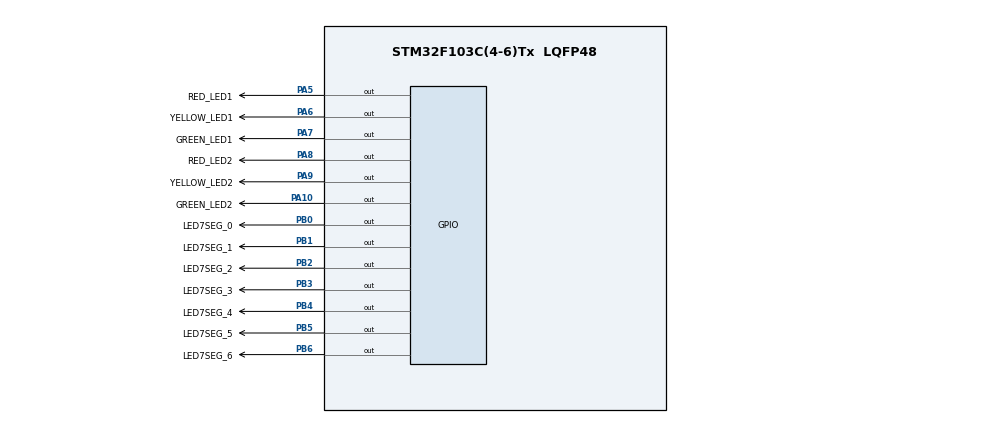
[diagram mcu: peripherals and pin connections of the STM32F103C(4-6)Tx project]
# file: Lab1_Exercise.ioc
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Mcu.Family=STM32F1
Mcu.Name=STM32F103C(4-6)Tx
Mcu.Package=LQFP48
NVIC.PriorityGroup=NVIC_PRIORITYGROUP_4
PA10.GPIO_Label=GREEN_LED2
PA10.Signal=GPIO_Output
PA5.GPIO_Label=RED_LED1
PA5.Signal=GPIO_Output
PA6.GPIO_Label=YELLOW_LED1
PA6.Signal=GPIO_Output
PA7.GPIO_Label=GREEN_LED1
PA7.Signal=GPIO_Output
PA8.GPIO_Label=RED_LED2
PA8.Signal=GPIO_Output
PA9.GPIO_Label=YELLOW_LED2
PA9.Signal=GPIO_Output
PB0.GPIO_Label=LED7SEG_0
PB0.Signal=GPIO_Output
PB1.GPIO_Label=LED7SEG_1
PB1.Signal=GPIO_Output
PB2.GPIO_Label=LED7SEG_2
PB2.Signal=GPIO_Output
PB3.GPIO_Label=LED7SEG_3
PB3.Signal=GPIO_Output
PB4.GPIO_Label=LED7SEG_4
PB4.Signal=GPIO_Output
PB5.GPIO_Label=LED7SEG_5
PB5.Signal=GPIO_Output
PB6.GPIO_Label=LED7SEG_6
PB6.Signal=GPIO_Output
ProjectManager.HeapSize=0x200
ProjectManager.StackSize=0x400
ProjectManager.TargetToolchain=STM32CubeIDE
RCC.APB1Freq_Value=8000000
RCC.APB2Freq_Value=8000000
board=custom

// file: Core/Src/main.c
/* USER CODE BEGIN Header */
/**
  ******************************************************************************
  * @file           : main.c
  * @brief          : Main program body
  ******************************************************************************
  * @attention
  *
  * Copyright (c) 2023 STMicroelectronics.
  * All rights reserved.
  *
  * This software is licensed under terms that can be found in the LICENSE file
  * in the root directory of this software component.
  * If no LICENSE file comes with this software, it is provided AS-IS.
  *
  ******************************************************************************
  */
/* USER CODE END Header */
#include "main.h"

/* USER CODE BEGIN PD */
enum TrafficLightState
{
	RED1_GREEN2,
	RED1_YELLOW2,
	GREEN1_RED2,
	YELLOW1_RED2
};

enum Led
{
	RED1,
	RED2,
	GREEN1,
	GREEN2,
	YELLOW1,
	YELLOW2
};
/* USER CODE END PD */

void SystemClock_Config(void);
static void MX_GPIO_Init(void);
void turnOnLight(enum Led);
void clearAllLed();

int main(void)
{

  /* MCU Configuration--------------------------------------------------------*/

  /* Reset of all peripherals, Initializes the Flash interface and the Systick. */
  HAL_Init();

  /* Configure the system clock */
  SystemClock_Config();

  /* Initialize all configured peripherals */
  MX_GPIO_Init();

  /* Infinite loop */
  /* USER CODE BEGIN WHILE */
  turnOnLight(RED1);
  turnOnLight(GREEN1);
  uint8_t count = 3;
  uint8_t light = 5;
  uint8_t state = RED1_GREEN2;
  while (1)
  {
	switch (state)
	{
	case RED1_GREEN2:
		clearAllLed();
		turnOnLight(RED1);
		turnOnLight(GREEN2);
		--count;
		--light;
		if (count <= 0)
		{
			count = 2;
			state = RED1_YELLOW2;
		}
		break;
	case RED1_YELLOW2:
		clearAllLed();
		turnOnLight(RED1);
		turnOnLight(YELLOW2);
		--count;
		--light;
		if (count <= 0)
		{
			count = 3;
			light = 3;
			state = GREEN1_RED2;
		}
		break;
	case GREEN1_RED2:
		clearAllLed();
		turnOnLight(GREEN1);
		turnOnLight(RED2);
		--count;
		--light;
		if (count <= 0)
		{
			count = 2;
			light = 2;
			state = YELLOW1_RED2;
		}
		break;
	case YELLOW1_RED2:
		clearAllLed();
		turnOnLight(YELLOW1);
		turnOnLight(RED2);
		--count;
		--light;
		if (count <= 0)
		{
			count = 3;
			light = 5;
			state = RED1_GREEN2;
		}
		break;
	}
	HAL_Delay(1000);
  /* USER CODE END WHILE */

  /* USER CODE BEGIN 3 */
  }
}

void SystemClock_Config(void)
{
  RCC_OscInitTypeDef RCC_OscInitStruct = {0};
  RCC_ClkInitTypeDef RCC_ClkInitStruct = {0};

  /** Initializes the RCC Oscillators according to the specified parameters
  * in the RCC_OscInitTypeDef structure.
  */
  RCC_OscInitStruct.OscillatorType = RCC_OSCILLATORTYPE_HSI;
  RCC_OscInitStruct.HSIState = RCC_HSI_ON;
  RCC_OscInitStruct.HSICalibrationValue = RCC_HSICALIBRATION_DEFAULT;
  RCC_OscInitStruct.PLL.PLLState = RCC_PLL_NONE;
  if (HAL_RCC_OscConfig(&RCC_OscInitStruct) != HAL_OK)
  {
    Error_Handler();
  }

  /** Initializes the CPU, AHB and APB buses clocks
  */
  RCC_ClkInitStruct.ClockType = RCC_CLOCKTYPE_HCLK|RCC_CLOCKTYPE_SYSCLK
                              |RCC_CLOCKTYPE_PCLK1|RCC_CLOCKTYPE_PCLK2;
  RCC_ClkInitStruct.SYSCLKSource = RCC_SYSCLKSOURCE_HSI;
  RCC_ClkInitStruct.AHBCLKDivider = RCC_SYSCLK_DIV1;
  RCC_ClkInitStruct.APB1CLKDivider = RCC_HCLK_DIV1;
  RCC_ClkInitStruct.APB2CLKDivider = RCC_HCLK_DIV1;

  if (HAL_RCC_ClockConfig(&RCC_ClkInitStruct, FLASH_LATENCY_0) != HAL_OK)
  {
    Error_Handler();
  }
}

static void MX_GPIO_Init(void)
{
  GPIO_InitTypeDef GPIO_InitStruct = {0};

  /* GPIO Ports Clock Enable */
  __HAL_RCC_GPIOA_CLK_ENABLE();

  /*Configure GPIO pin Output Level */
  HAL_GPIO_WritePin(GPIOA, RED_LED1_Pin|YELLOW_LED1_Pin|GREEN_LED1_Pin|RED_LED2_Pin
                          |YELLOW_LED2_Pin|GREEN_LED2_Pin, GPIO_PIN_RESET);

  /*Configure GPIO pins : RED_LED1_Pin YELLOW_LED1_Pin GREEN_LED1_Pin RED_LED2_Pin
                           YELLOW_LED2_Pin GREEN_LED2_Pin */
  GPIO_InitStruct.Pin = RED_LED1_Pin|YELLOW_LED1_Pin|GREEN_LED1_Pin|RED_LED2_Pin
                          |YELLOW_LED2_Pin|GREEN_LED2_Pin;
  GPIO_InitStruct.Mode = GPIO_MODE_OUTPUT_PP;
  GPIO_InitStruct.Pull = GPIO_NOPULL;
  GPIO_InitStruct.Speed = GPIO_SPEED_FREQ_LOW;
  HAL_GPIO_Init(GPIOA, &GPIO_InitStruct);

}

/* USER CODE BEGIN 4 */
void clearAllLed()
{
    HAL_GPIO_WritePin(RED_LED1_GPIO_Port, RED_LED1_Pin, GPIO_PIN_RESET);
    HAL_GPIO_WritePin(GREEN_LED1_GPIO_Port, GREEN_LED1_Pin, GPIO_PIN_RESET);
    HAL_GPIO_WritePin(YELLOW_LED1_GPIO_Port, YELLOW_LED1_Pin, GPIO_PIN_RESET);
    HAL_GPIO_WritePin(RED_LED2_GPIO_Port, RED_LED2_Pin, GPIO_PIN_RESET);
    HAL_GPIO_WritePin(GREEN_LED2_GPIO_Port, GREEN_LED2_Pin, GPIO_PIN_RESET);
    HAL_GPIO_WritePin(YELLOW_LED2_GPIO_Port, YELLOW_LED2_Pin, GPIO_PIN_RESET);
}

void turnOnLight(enum Led led)
{
    switch (led)
    {
    case RED1:
        HAL_GPIO_WritePin(RED_LED1_GPIO_Port, RED_LED1_Pin, GPIO_PIN_SET);
        break;
    case GREEN1:
        HAL_GPIO_WritePin(GREEN_LED1_GPIO_Port, GREEN_LED1_Pin, GPIO_PIN_SET);
        break;
    case YELLOW1:
        HAL_GPIO_WritePin(YELLOW_LED1_GPIO_Port, YELLOW_LED1_Pin, GPIO_PIN_SET);
        break;
    case RED2:
        HAL_GPIO_WritePin(RED_LED2_GPIO_Port, RED_LED2_Pin, GPIO_PIN_SET);
        break;
    case GREEN2:
        HAL_GPIO_WritePin(GREEN_LED2_GPIO_Port, GREEN_LED2_Pin, GPIO_PIN_SET);
        break;
    case YELLOW2:
        HAL_GPIO_WritePin(YELLOW_LED2_GPIO_Port, YELLOW_LED2_Pin, GPIO_PIN_SET);
        break;
    }
}
/* USER CODE END 4 */

void Error_Handler(void)
{
  __disable_irq();
  while (1)
  {
  }
}
